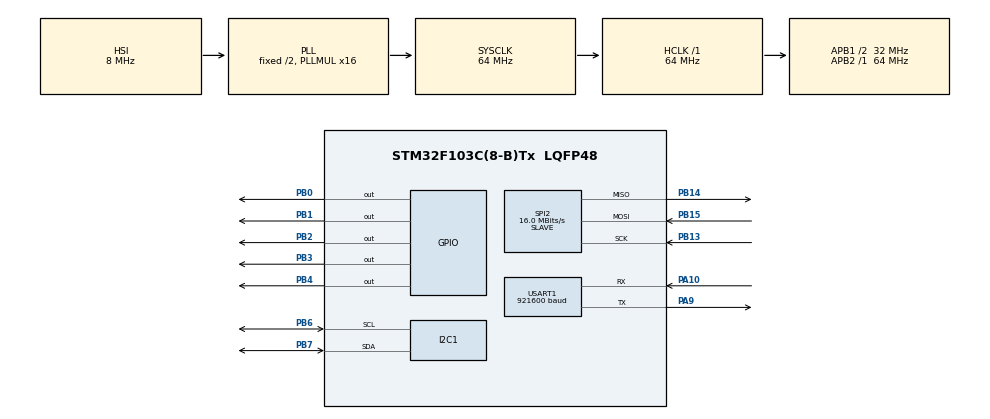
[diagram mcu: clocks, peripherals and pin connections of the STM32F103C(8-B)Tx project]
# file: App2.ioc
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FREERTOS.INCLUDE_xTaskGetCurrentTaskHandle=1
FREERTOS.Tasks01=defaultTask,0,128,StartDefaultTask,Default,NULL
FREERTOS.configCHECK_FOR_STACK_OVERFLOW=2
FREERTOS.configTOTAL_HEAP_SIZE=8192
FREERTOS.configUSE_MALLOC_FAILED_HOOK=1
Mcu.Family=STM32F1
Mcu.Name=STM32F103C(8-B)Tx
Mcu.Package=LQFP48
NVIC.PriorityGroup=NVIC_PRIORITYGROUP_4
NVIC.SPI2_IRQn=true\:5\:0\:false\:false\:true\:true\:true
NVIC.USART1_IRQn=true\:5\:0\:false\:false\:true\:true\:true
PA10.Mode=Asynchronous
PA10.Signal=USART1_RX
PA13.Mode=Serial_Wire
PA13.Signal=SYS_JTMS-SWDIO
PA14.Mode=Serial_Wire
PA14.Signal=SYS_JTCK-SWCLK
PA9.Mode=Asynchronous
PA9.Signal=USART1_TX
PB0.Signal=GPIO_Output
PB1.Signal=GPIO_Output
PB13.Mode=Full_Duplex_Slave
PB13.Signal=SPI2_SCK
PB14.Mode=Full_Duplex_Slave
PB14.Signal=SPI2_MISO
PB15.Mode=Full_Duplex_Slave
PB15.Signal=SPI2_MOSI
PB2.Signal=GPIO_Output
PB3.Signal=GPIO_Output
PB4.Signal=GPIO_Output
PB6.Mode=I2C
PB6.Signal=I2C1_SCL
PB7.Mode=I2C
PB7.Signal=I2C1_SDA
ProjectManager.HeapSize=0x200
ProjectManager.StackSize=0x400
ProjectManager.TargetToolchain=SW4STM32
RCC.AHBFreq_Value=64000000
RCC.APB1CLKDivider=RCC_HCLK_DIV2
RCC.APB1Freq_Value=32000000
RCC.APB1TimFreq_Value=64000000
RCC.APB2Freq_Value=64000000
RCC.APB2TimFreq_Value=64000000
RCC.HCLKFreq_Value=64000000
RCC.PLLMUL=RCC_PLL_MUL16
RCC.SYSCLKFreq_VALUE=64000000
RCC.SYSCLKSource=RCC_SYSCLKSOURCE_PLLCLK
RCC.USBFreq_Value=64000000
SPI2.CalculateBaudRate=16.0 MBits/s
SPI2.Direction=SPI_DIRECTION_2LINES
SPI2.Mode=SPI_MODE_SLAVE
SPI2.VirtualType=VM_SLAVE
USART1.BaudRate=921600
USART1.VirtualMode=VM_ASYNC
VP_FREERTOS_VS_ENABLE.Mode=Enabled
board=App2

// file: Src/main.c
/**
  ******************************************************************************
  * File Name          : main.c
  * Description        : Main program body
  ******************************************************************************
  * This notice applies to any and all portions of this file
  * that are not between comment pairs USER CODE BEGIN and
  * USER CODE END. Other portions of this file, whether
  * inserted by the user or by software development tools
  * are owned by their respective copyright owners.
  *
  * Copyright (c) 2017 STMicroelectronics International N.V.
  * All rights reserved.
  *
  * Redistribution and use in source and binary forms, with or without
  * modification, are permitted, provided that the following conditions are met:
  *
  * 1. Redistribution of source code must retain the above copyright notice,
  *    this list of conditions and the following disclaimer.
  * 2. Redistributions in binary form must reproduce the above copyright notice,
  *    this list of conditions and the following disclaimer in the documentation
  *    and/or other materials provided with the distribution.
  * 3. Neither the name of STMicroelectronics nor the names of other
  *    contributors to this software may be used to endorse or promote products
  *    derived from this software without specific written permission.
  * 4. This software, including modifications and/or derivative works of this
  *    software, must execute solely and exclusively on microcontroller or
  *    microprocessor devices manufactured by or for STMicroelectronics.
  * 5. Redistribution and use of this software other than as permitted under
  *    this license is void and will automatically terminate your rights under
  *    this license.
  *
  * THIS SOFTWARE IS PROVIDED BY STMICROELECTRONICS AND CONTRIBUTORS "AS IS"
  * AND ANY EXPRESS, IMPLIED OR STATUTORY WARRANTIES, INCLUDING, BUT NOT
  * LIMITED TO, THE IMPLIED WARRANTIES OF MERCHANTABILITY, FITNESS FOR A
  * PARTICULAR PURPOSE AND NON-INFRINGEMENT OF THIRD PARTY INTELLECTUAL PROPERTY
  * RIGHTS ARE DISCLAIMED TO THE FULLEST EXTENT PERMITTED BY LAW. IN NO EVENT
  * SHALL STMICROELECTRONICS OR CONTRIBUTORS BE LIABLE FOR ANY DIRECT, INDIRECT,
  * INCIDENTAL, SPECIAL, EXEMPLARY, OR CONSEQUENTIAL DAMAGES (INCLUDING, BUT NOT
  * LIMITED TO, PROCUREMENT OF SUBSTITUTE GOODS OR SERVICES; LOSS OF USE, DATA,
  * OR PROFITS; OR BUSINESS INTERRUPTION) HOWEVER CAUSED AND ON ANY THEORY OF
  * LIABILITY, WHETHER IN CONTRACT, STRICT LIABILITY, OR TORT (INCLUDING
  * NEGLIGENCE OR OTHERWISE) ARISING IN ANY WAY OUT OF THE USE OF THIS SOFTWARE,
  * EVEN IF ADVISED OF THE POSSIBILITY OF SUCH DAMAGE.
  *
  ******************************************************************************
  */

#include "main.h"
#include "stm32f1xx_hal.h"
#include "cmsis_os.h"

/* USER CODE BEGIN Includes */
#include "tasks.h"
#include "i2c.h"
#include "spi.h"
#include "communication.h"

/* USER CODE END Includes */

I2C_HandleTypeDef hi2c1;

SPI_HandleTypeDef hspi2;

UART_HandleTypeDef huart1;

osThreadId defaultTaskHandle;

/* USER CODE BEGIN PV */
/* Private variables ---------------------------------------------------------*/
osThreadId uartTaskHandle;
osThreadId reverseTaskHandle;

/* USER CODE END PV */

void SystemClock_Config(void);
static void MX_GPIO_Init(void);
static void MX_USART1_UART_Init(void);
static void MX_SPI2_Init(void);
static void MX_I2C1_Init(void);
void StartDefaultTask(void const * argument);

/* USER CODE BEGIN PFP */
/* Private function prototypes -----------------------------------------------*/

/* USER CODE END PFP */

int main(void)
{

  /* MCU Configuration----------------------------------------------------------*/

  /* Reset of all peripherals, Initializes the Flash interface and the Systick. */
  HAL_Init();

  /* Configure the system clock */
  SystemClock_Config();

  /* Initialize all configured peripherals */
  MX_GPIO_Init();
  MX_USART1_UART_Init();
  MX_SPI2_Init();
  MX_I2C1_Init();

  /* Create the thread(s) */
  /* definition and creation of defaultTask */
  osThreadDef(defaultTask, StartDefaultTask, osPriorityNormal, 0, 128);
  defaultTaskHandle = osThreadCreate(osThread(defaultTask), NULL);

  /* USER CODE BEGIN RTOS_THREADS */
  osThreadDef(uartTask, task_uart, osPriorityNormal, 0, 512);
  uartTaskHandle = osThreadCreate(osThread(uartTask), &huart1);

  osThreadDef(handleI2C, task_i2c, osPriorityNormal, 0, 128);
  osThreadCreate(osThread(handleI2C), &hi2c1);

  osThreadDef(handleSPI, task_spi, osPriorityNormal, 0, 128);
  osThreadCreate(osThread(handleSPI), &hspi2);

  /* USER CODE END RTOS_THREADS */

  /* Start scheduler */
  osKernelStart();

  /* We should never get here as control is now taken by the scheduler */

  /* Infinite loop */
  /* USER CODE BEGIN WHILE */
  while (1)
  {
	  __asm__ volatile("BKPT #01");
  /* USER CODE END WHILE */

  }

}

/** System Clock Configuration
*/
void SystemClock_Config(void)
{

  RCC_OscInitTypeDef RCC_OscInitStruct;
  RCC_ClkInitTypeDef RCC_ClkInitStruct;

    /**Initializes the CPU, AHB and APB busses clocks
    */
  RCC_OscInitStruct.OscillatorType = RCC_OSCILLATORTYPE_HSI;
  RCC_OscInitStruct.HSIState = RCC_HSI_ON;
  RCC_OscInitStruct.HSICalibrationValue = 16;
  RCC_OscInitStruct.PLL.PLLState = RCC_PLL_ON;
  RCC_OscInitStruct.PLL.PLLSource = RCC_PLLSOURCE_HSI_DIV2;
  RCC_OscInitStruct.PLL.PLLMUL = RCC_PLL_MUL16;
  if (HAL_RCC_OscConfig(&RCC_OscInitStruct) != HAL_OK)
  {
    _Error_Handler(__FILE__, __LINE__);
  }

    /**Initializes the CPU, AHB and APB busses clocks
    */
  RCC_ClkInitStruct.ClockType = RCC_CLOCKTYPE_HCLK|RCC_CLOCKTYPE_SYSCLK
                              |RCC_CLOCKTYPE_PCLK1|RCC_CLOCKTYPE_PCLK2;
  RCC_ClkInitStruct.SYSCLKSource = RCC_SYSCLKSOURCE_PLLCLK;
  RCC_ClkInitStruct.AHBCLKDivider = RCC_SYSCLK_DIV1;
  RCC_ClkInitStruct.APB1CLKDivider = RCC_HCLK_DIV2;
  RCC_ClkInitStruct.APB2CLKDivider = RCC_HCLK_DIV1;

  if (HAL_RCC_ClockConfig(&RCC_ClkInitStruct, FLASH_LATENCY_2) != HAL_OK)
  {
    _Error_Handler(__FILE__, __LINE__);
  }

    /**Configure the Systick interrupt time
    */
  HAL_SYSTICK_Config(HAL_RCC_GetHCLKFreq()/1000);

    /**Configure the Systick
    */
  HAL_SYSTICK_CLKSourceConfig(SYSTICK_CLKSOURCE_HCLK);

  /* SysTick_IRQn interrupt configuration */
  HAL_NVIC_SetPriority(SysTick_IRQn, 15, 0);
}

/* I2C1 init function */
static void MX_I2C1_Init(void)
{

  hi2c1.Instance = I2C1;
  hi2c1.Init.ClockSpeed = 100000;
  hi2c1.Init.DutyCycle = I2C_DUTYCYCLE_2;
  hi2c1.Init.OwnAddress1 = 0;
  hi2c1.Init.AddressingMode = I2C_ADDRESSINGMODE_7BIT;
  hi2c1.Init.DualAddressMode = I2C_DUALADDRESS_DISABLE;
  hi2c1.Init.OwnAddress2 = 0;
  hi2c1.Init.GeneralCallMode = I2C_GENERALCALL_DISABLE;
  hi2c1.Init.NoStretchMode = I2C_NOSTRETCH_DISABLE;
  if (HAL_I2C_Init(&hi2c1) != HAL_OK)
  {
    _Error_Handler(__FILE__, __LINE__);
  }

}

/* SPI2 init function */
static void MX_SPI2_Init(void)
{

  /* SPI2 parameter configuration*/
  hspi2.Instance = SPI2;
  hspi2.Init.Mode = SPI_MODE_SLAVE;
  hspi2.Init.Direction = SPI_DIRECTION_2LINES;
  hspi2.Init.DataSize = SPI_DATASIZE_8BIT;
  hspi2.Init.CLKPolarity = SPI_POLARITY_LOW;
  hspi2.Init.CLKPhase = SPI_PHASE_1EDGE;
  hspi2.Init.NSS = SPI_NSS_SOFT;
  hspi2.Init.BaudRatePrescaler = SPI_BAUDRATEPRESCALER_2;
  hspi2.Init.FirstBit = SPI_FIRSTBIT_MSB;
  hspi2.Init.TIMode = SPI_TIMODE_DISABLE;
  hspi2.Init.CRCCalculation = SPI_CRCCALCULATION_DISABLE;
  hspi2.Init.CRCPolynomial = 10;
  if (HAL_SPI_Init(&hspi2) != HAL_OK)
  {
    _Error_Handler(__FILE__, __LINE__);
  }

}

/* USART1 init function */
static void MX_USART1_UART_Init(void)
{

  huart1.Instance = USART1;
  huart1.Init.BaudRate = 921600;
  huart1.Init.WordLength = UART_WORDLENGTH_8B;
  huart1.Init.StopBits = UART_STOPBITS_1;
  huart1.Init.Parity = UART_PARITY_NONE;
  huart1.Init.Mode = UART_MODE_TX_RX;
  huart1.Init.HwFlowCtl = UART_HWCONTROL_NONE;
  huart1.Init.OverSampling = UART_OVERSAMPLING_16;
  if (HAL_UART_Init(&huart1) != HAL_OK)
  {
    _Error_Handler(__FILE__, __LINE__);
  }

}

/** Configure pins as
        * Analog
        * Input
        * Output
        * EVENT_OUT
        * EXTI
*/
static void MX_GPIO_Init(void)
{

  GPIO_InitTypeDef GPIO_InitStruct;

  /* GPIO Ports Clock Enable */
  __HAL_RCC_GPIOB_CLK_ENABLE();
  __HAL_RCC_GPIOA_CLK_ENABLE();

  /*Configure GPIO pin Output Level */
  HAL_GPIO_WritePin(GPIOB, GPIO_PIN_0|GPIO_PIN_1|GPIO_PIN_2|GPIO_PIN_3
                          |GPIO_PIN_4, GPIO_PIN_RESET);

  /*Configure GPIO pins : PB0 PB1 PB2 PB3
                           PB4 */
  GPIO_InitStruct.Pin = GPIO_PIN_0|GPIO_PIN_1|GPIO_PIN_2|GPIO_PIN_3
                          |GPIO_PIN_4;
  GPIO_InitStruct.Mode = GPIO_MODE_OUTPUT_PP;
  GPIO_InitStruct.Speed = GPIO_SPEED_FREQ_LOW;
  HAL_GPIO_Init(GPIOB, &GPIO_InitStruct);

}

/* StartDefaultTask function */
void StartDefaultTask(void const * argument)
{

  /* USER CODE BEGIN 5 */
  /* Infinite loop */
  for(;;)
  {
    osDelay(500);
    HAL_GPIO_TogglePin(GPIOB, GPIO_PIN_1);
  }
  /* USER CODE END 5 */
}

void _Error_Handler(char * file, int line)
{
  /* USER CODE BEGIN Error_Handler_Debug */
  /* User can add his own implementation to report the HAL error return state */
  __asm__ volatile("BKPT #01");
  while(1)
  {
  }
  /* USER CODE END Error_Handler_Debug */
}

#ifdef USE_FULL_ASSERT

/**
   * @brief Reports the name of the source file and the source line number
   * where the assert_param error has occurred.
   * @param file: pointer to the source file name
   * @param line: assert_param error line source number
   * @retval None
   */
void assert_failed(uint8_t* file, uint32_t line)
{
  /* USER CODE BEGIN 6 */
  /* User can add his own implementation to report the file name and line number,
    ex: printf("Wrong parameters value: file %s on line %d\r\n", file, line) */
	__asm__ volatile("BKPT #01");
	for(;;);
  /* USER CODE END 6 */

}

#endif

/************************ (C) COPYRIGHT STMicroelectronics *****END OF FILE****/

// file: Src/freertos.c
/**
  ******************************************************************************
  * File Name          : freertos.c
  * Description        : Code for freertos applications
  ******************************************************************************
  * This notice applies to any and all portions of this file
  * that are not between comment pairs USER CODE BEGIN and
  * USER CODE END. Other portions of this file, whether
  * inserted by the user or by software development tools
  * are owned by their respective copyright owners.
  *
  * Copyright (c) 2017 STMicroelectronics International N.V.
  * All rights reserved.
  *
  * Redistribution and use in source and binary forms, with or without
  * modification, are permitted, provided that the following conditions are met:
  *
  * 1. Redistribution of source code must retain the above copyright notice,
  *    this list of conditions and the following disclaimer.
  * 2. Redistributions in binary form must reproduce the above copyright notice,
  *    this list of conditions and the following disclaimer in the documentation
  *    and/or other materials provided with the distribution.
  * 3. Neither the name of STMicroelectronics nor the names of other
  *    contributors to this software may be used to endorse or promote products
  *    derived from this software without specific written permission.
  * 4. This software, including modifications and/or derivative works of this
  *    software, must execute solely and exclusively on microcontroller or
  *    microprocessor devices manufactured by or for STMicroelectronics.
  * 5. Redistribution and use of this software other than as permitted under
  *    this license is void and will automatically terminate your rights under
  *    this license.
  *
  * THIS SOFTWARE IS PROVIDED BY STMICROELECTRONICS AND CONTRIBUTORS "AS IS"
  * AND ANY EXPRESS, IMPLIED OR STATUTORY WARRANTIES, INCLUDING, BUT NOT
  * LIMITED TO, THE IMPLIED WARRANTIES OF MERCHANTABILITY, FITNESS FOR A
  * PARTICULAR PURPOSE AND NON-INFRINGEMENT OF THIRD PARTY INTELLECTUAL PROPERTY
  * RIGHTS ARE DISCLAIMED TO THE FULLEST EXTENT PERMITTED BY LAW. IN NO EVENT
  * SHALL STMICROELECTRONICS OR CONTRIBUTORS BE LIABLE FOR ANY DIRECT, INDIRECT,
  * INCIDENTAL, SPECIAL, EXEMPLARY, OR CONSEQUENTIAL DAMAGES (INCLUDING, BUT NOT
  * LIMITED TO, PROCUREMENT OF SUBSTITUTE GOODS OR SERVICES; LOSS OF USE, DATA,
  * OR PROFITS; OR BUSINESS INTERRUPTION) HOWEVER CAUSED AND ON ANY THEORY OF
  * LIABILITY, WHETHER IN CONTRACT, STRICT LIABILITY, OR TORT (INCLUDING
  * NEGLIGENCE OR OTHERWISE) ARISING IN ANY WAY OUT OF THE USE OF THIS SOFTWARE,
  * EVEN IF ADVISED OF THE POSSIBILITY OF SUCH DAMAGE.
  *
  ******************************************************************************
  */

#include "FreeRTOS.h"
#include "task.h"

/* Hook prototypes */
void vApplicationStackOverflowHook(xTaskHandle xTask, signed char *pcTaskName);
void vApplicationMallocFailedHook(void);

/* USER CODE BEGIN 4 */
__weak void vApplicationStackOverflowHook(xTaskHandle xTask, signed char *pcTaskName)
{
   /* Run time stack overflow checking is performed if
   configCHECK_FOR_STACK_OVERFLOW is defined to 1 or 2. This hook function is
   called if a stack overflow is detected. */
	__asm__ volatile("BKPT #01");
}
/* USER CODE END 4 */

/* USER CODE BEGIN 5 */
__weak void vApplicationMallocFailedHook(void)
{
   /* vApplicationMallocFailedHook() will only be called if
   configUSE_MALLOC_FAILED_HOOK is set to 1 in FreeRTOSConfig.h. It is a hook
   function that will get called if a call to pvPortMalloc() fails.
   pvPortMalloc() is called internally by the kernel whenever a task, queue,
   timer or semaphore is created. It is also called by various parts of the
   demo application. If heap_1.c or heap_2.c are used, then the size of the
   heap available to pvPortMalloc() is defined by configTOTAL_HEAP_SIZE in
   FreeRTOSConfig.h, and the xPortGetFreeHeapSize() API function can be used
   to query the size of free heap space that remains (although it does not
   provide information on how the remaining heap might be fragmented). */
	__asm__ volatile("BKPT #01");
}
/* USER CODE END 5 */

/************************ (C) COPYRIGHT STMicroelectronics *****END OF FILE****/
